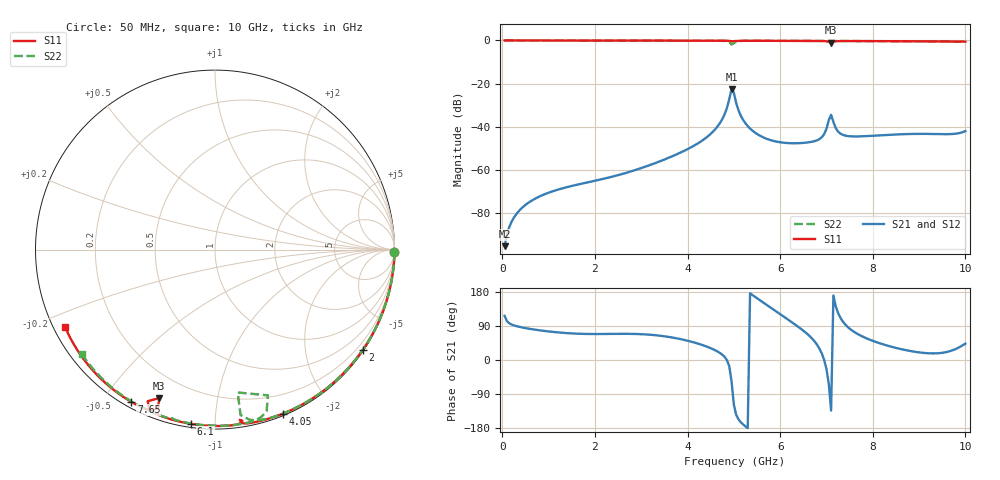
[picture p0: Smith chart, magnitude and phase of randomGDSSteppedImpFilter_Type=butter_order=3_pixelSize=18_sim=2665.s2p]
! freq	dB(S11)	phase(S11)	dB(S12)	phase(S12)
!  dB(S21)	phase(S21)	dB(S22)	phase(S22)
!S-par simulation data
#  GHz  S  DB  R 50
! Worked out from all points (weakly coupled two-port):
!   200 points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, 50 MHz to 10 GHz, reference 50 ohm
!   highest |S21| = -22.52 dB at 4.95 GHz (marker M1); lowest = -95.2 dB at 50 MHz (marker M2)
!   lowest |S11| = -1.1 dB at 7.1 GHz (marker M3), VSWR 16.28, Z = 4.53 - j34.4 ohm
!   |S11| at or under -10 dB: nowhere
!   |S22| runs from -1.9 to 0.0 dB; largest |S21 - S12| = 0
!   S11 on the Smith chart (normalised r, x): 50 MHz: open; 2 GHz: 0.03, -3.24; 4.05 GHz: 0.02, -1.50; 6.1 GHz: 0.02, -0.87; 7.65 GHz: 0.02, -0.59; 10 GHz: 0.03, -0.24
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0.05  -0.00 -0.9  -95.21 116.6  -95.21 116.6  -0.00 -0.8
0.3  -0.00 -5.2  -80.46 89.5  -80.46 89.5  -0.00 -4.9
0.85  -0.02 -14.8  -71.75 77.6  -71.75 77.6  -0.02 -13.8
1.75  -0.04 -30.1  -66.11 68.9  -66.11 68.9  -0.04 -28.2
2  -0.04 -34.3  -64.93 68.5  -64.93 68.5  -0.04 -32.2
3.4  -0.08 -57.2  -55.97 64.2  -55.97 64.2  -0.07 -53.8
4.05  -0.09 -67.4  -49.77 49.4  -49.77 49.4  -0.09 -63.6
4.65  -0.11 -76.8  -39.74 22.2  -39.74 22.2  -0.13 -73.3
4.8  -0.13 -79.2  -34.19 8.3  -34.19 8.3  -0.20 -76.8
4.95  -0.37 -81.7  -22.52 -55.8  -22.52 -55.8  -1.87 -81.0
5.05  -0.19 -81.8  -28.90 -144.4  -28.90 -144.4  -0.49 -72.3
5.2  -0.14 -84.4  -36.75 -170.1  -36.75 -170.1  -0.19 -77.2
5.4  -0.14 -87.5  -41.70 171.5  -41.70 171.5  -0.15 -81.0
6.1  -0.17 -97.8  -47.39 112.5  -47.39 112.5  -0.17 -91.2
6.7  -0.21 -106.7  -46.84 55.3  -46.84 55.3  -0.20 -99.4
6.95  -0.29 -111.2  -43.34 0.1  -43.34 0.1  -0.22 -102.7
7.1  -1.07 -110.6  -34.41 -133.4  -34.41 -133.4  -0.27 -104.4
7.2  -0.37 -111.1  -40.55 141.8  -40.55 141.8  -0.23 -105.8
7.3  -0.29 -113.3  -43.11 111.7  -43.11 111.7  -0.23 -107.1
7.65  -0.28 -118.8  -44.43 70.2  -44.43 70.2  -0.26 -111.7
8.35  -0.33 -128.6  -43.67 36.8  -43.67 36.8  -0.32 -120.7
10  -0.54 -152.6  -41.96 43.1  -41.96 43.1  -0.51 -141.9
